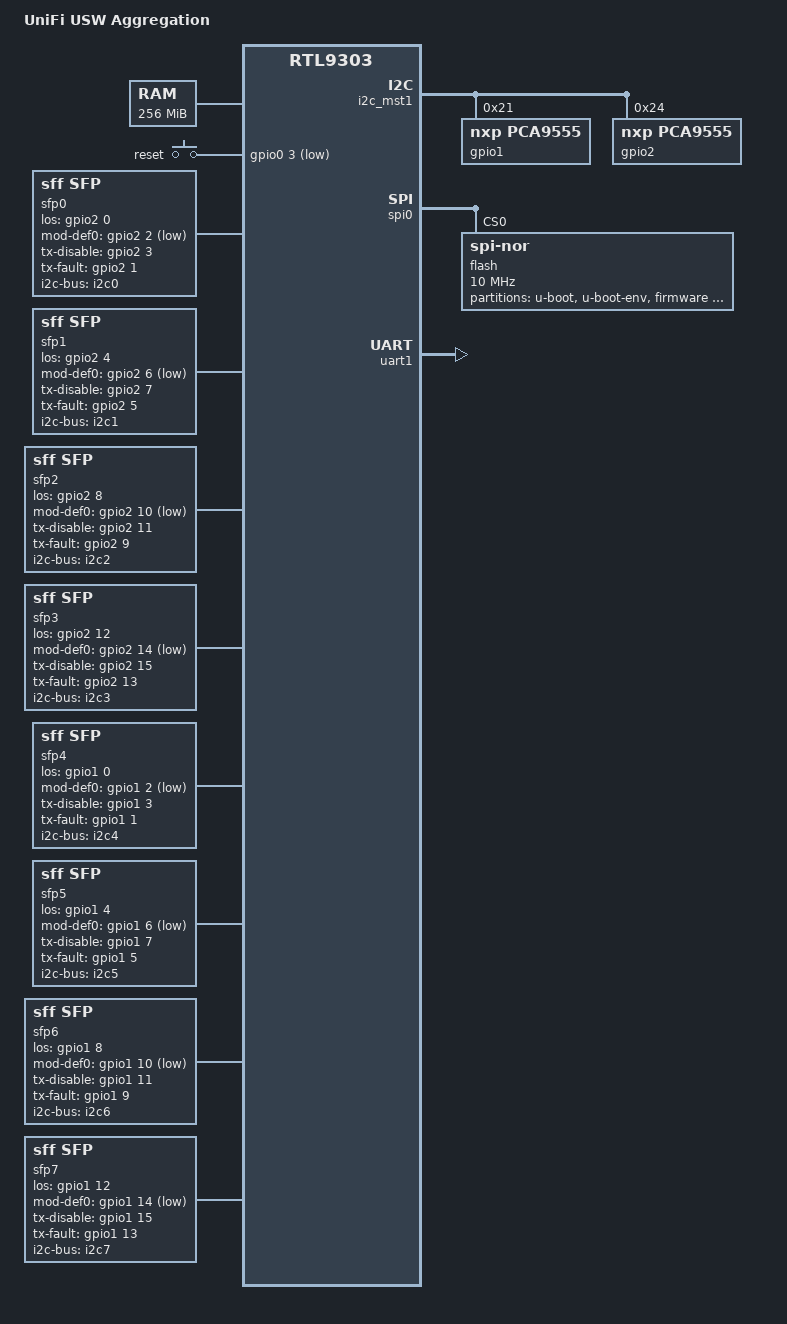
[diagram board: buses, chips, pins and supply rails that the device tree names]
// SPDX-License-Identifier: GPL-2.0-or-later

#include "rtl930x.dtsi"

#include <dt-bindings/input/input.h>
#include <dt-bindings/gpio/gpio.h>
#include <dt-bindings/leds/common.h>

/ {
	compatible = "ubnt,usw-aggregation", "realtek,rtl9303-soc";
	model = "UniFi USW Aggregation";

	aliases {
		label-mac-device = &ethernet0;
	};

	memory@0 {
		device_type = "memory";
		reg = <0x00000000 0x10000000>;
	};

	chosen {
		stdout-path = "serial0:115200n8";
	};

	keys {
		compatible = "gpio-keys";

		button-reset {
			label = "reset";
			gpios = <&gpio0 3 GPIO_ACTIVE_LOW>;
			linux,code = <KEY_RESTART>;
		};
	};

	leds {
		compatible = "gpio-leds";
		pinctrl-names = "default";
		pinctrl-0 = <&pinmux_enable_led_sync>;
	};

	led_set {
		compatible = "realtek,rtl9300-leds";
		active-low;

		led_set0 = <(RTL93XX_LED_SET_10G | RTL93XX_LED_SET_5G | RTL93XX_LED_SET_2P5G |
			     RTL93XX_LED_SET_1G | RTL93XX_LED_SET_100M | RTL93XX_LED_SET_10M |
			     RTL93XX_LED_SET_LINK | RTL93XX_LED_SET_ACT)
			    RTL93XX_LED_SET_NONE>;
	};

	sfp0: sfp-p1 {
		compatible = "sff,sfp";
		i2c-bus = <&i2c0>;
		los-gpio = <&gpio2 0 GPIO_ACTIVE_HIGH>;
		mod-def0-gpio = <&gpio2 2 GPIO_ACTIVE_LOW>;
		tx-disable-gpio = <&gpio2 3 GPIO_ACTIVE_HIGH>;
		tx-fault-gpio = <&gpio2 1 GPIO_ACTIVE_HIGH>;
	};

	sfp1: sfp-p2 {
		compatible = "sff,sfp";
		i2c-bus = <&i2c1>;
		los-gpio = <&gpio2 4 GPIO_ACTIVE_HIGH>;
		mod-def0-gpio = <&gpio2 6 GPIO_ACTIVE_LOW>;
		tx-disable-gpio = <&gpio2 7 GPIO_ACTIVE_HIGH>;
		tx-fault-gpio = <&gpio2 5 GPIO_ACTIVE_HIGH>;
	};

	sfp2: sfp-p3 {
		compatible = "sff,sfp";
		i2c-bus = <&i2c2>;
		los-gpio = <&gpio2 8 GPIO_ACTIVE_HIGH>;
		mod-def0-gpio = <&gpio2 10 GPIO_ACTIVE_LOW>;
		tx-disable-gpio = <&gpio2 11 GPIO_ACTIVE_HIGH>;
		tx-fault-gpio = <&gpio2 9 GPIO_ACTIVE_HIGH>;
	};

	sfp3: sfp-p4 {
		compatible = "sff,sfp";
		i2c-bus = <&i2c3>;
		los-gpio = <&gpio2 12 GPIO_ACTIVE_HIGH>;
		mod-def0-gpio = <&gpio2 14 GPIO_ACTIVE_LOW>;
		tx-disable-gpio = <&gpio2 15 GPIO_ACTIVE_HIGH>;
		tx-fault-gpio = <&gpio2 13 GPIO_ACTIVE_HIGH>;
	};

	sfp4: sfp-p5 {
		compatible = "sff,sfp";
		i2c-bus = <&i2c4>;
		los-gpio = <&gpio1 0 GPIO_ACTIVE_HIGH>;
		mod-def0-gpio = <&gpio1 2 GPIO_ACTIVE_LOW>;
		tx-disable-gpio = <&gpio1 3 GPIO_ACTIVE_HIGH>;
		tx-fault-gpio = <&gpio1 1 GPIO_ACTIVE_HIGH>;
	};

	sfp5: sfp-p6 {
		compatible = "sff,sfp";
		i2c-bus = <&i2c5>;
		los-gpio = <&gpio1 4 GPIO_ACTIVE_HIGH>;
		mod-def0-gpio = <&gpio1 6 GPIO_ACTIVE_LOW>;
		tx-disable-gpio = <&gpio1 7 GPIO_ACTIVE_HIGH>;
		tx-fault-gpio = <&gpio1 5 GPIO_ACTIVE_HIGH>;
	};

	sfp6: sfp-p7 {
		compatible = "sff,sfp";
		i2c-bus = <&i2c6>;
		los-gpio = <&gpio1 8 GPIO_ACTIVE_HIGH>;
		mod-def0-gpio = <&gpio1 10 GPIO_ACTIVE_LOW>;
		tx-disable-gpio = <&gpio1 11 GPIO_ACTIVE_HIGH>;
		tx-fault-gpio = <&gpio1 9 GPIO_ACTIVE_HIGH>;
	};

	sfp7: sfp-p8 {
		compatible = "sff,sfp";
		i2c-bus = <&i2c7>;
		los-gpio = <&gpio1 12 GPIO_ACTIVE_HIGH>;
		mod-def0-gpio = <&gpio1 14 GPIO_ACTIVE_LOW>;
		tx-disable-gpio = <&gpio1 15 GPIO_ACTIVE_HIGH>;
		tx-fault-gpio = <&gpio1 13 GPIO_ACTIVE_HIGH>;
	};
};

&i2c_mst1 {
	status = "okay";

	i2c0: i2c@0 { reg = <0>; };
	i2c1: i2c@1 { reg = <1>; };
	i2c2: i2c@2 { reg = <2>; };
	i2c3: i2c@3 { reg = <3>; };
	i2c4: i2c@4 {
		reg = <4>;

		gpio1: gpio@21 {
			compatible = "nxp,pca9555";
			reg = <0x21>;
			gpio-controller;
			#gpio-cells = <2>;
		};

		gpio2: gpio@24 {
			compatible = "nxp,pca9555";
			reg = <0x24>;
			gpio-controller;
			#gpio-cells = <2>;
		};
	};
	i2c5: i2c@5 { reg = <5>; };
	i2c6: i2c@6 { reg = <6>; };
	i2c7: i2c@7 { reg = <7>; };
};

&spi0 {
	status = "okay";

	flash@0 {
		compatible = "jedec,spi-nor";
		reg = <0>;
		spi-max-frequency = <10000000>;

		partitions {
			compatible = "fixed-partitions";
			#address-cells = <1>;
			#size-cells = <1>;

			partition@0 {
				label = "u-boot";
				reg = <0x0 0xa0000>;
				read-only;
			};

			partition@a0000 {
				label = "u-boot-env";
				reg = <0xa0000 0x10000>;
			};

			partition@b0000 {
				compatible = "openwrt,uimage", "denx,uimage";
				label = "firmware";
				reg = <0xb0000 0xe20000>;
			};

			/* this partition contains data used by U-boot and UniFi OS
			 * e.g. the bootpartition selector.
			 */
			partition@ed0000 {
				label = "reserved";
				reg = <0xed0000 0x10000>;
			};

			partition@ee0000 {
				label = "cdata";
				reg = <0xee0000 0x10000>;
			};

			partition@ef0000 {
				label = "cfg";
				reg = <0xef0000 0x100000>;
			};

			partition@ff0000 {
				label = "eeprom";
				reg = <0xff0000 0x10000>;

				nvmem-layout {
					compatible = "fixed-layout";
					#address-cells = <1>;
					#size-cells = <1>;

					factory_macaddr: macaddr@0 {
						compatible = "mac-base";
						reg = <0x0 0x6>;
						#nvmem-cell-cells = <1>;
					};
				};
			};
		};
	};
};

&gpio0 {
	/*
	 * Lines 5/6 are wired to the front-panel STM32 MCU that drives
	 * the touch display:
	 *   5 = BOOT0 select (low: run firmware from flash,
	 *                    high: system bootloader / DFU)
	 *   6 = reset (active low)
	 * Named only, not claimed, so userspace can drive them.
	 */
	gpio-line-names = "", "", "", "", "", "lcm-mode", "lcm-reset";
};

&ethernet0 {
	nvmem-cells = <&factory_macaddr 0>;
	nvmem-cell-names = "mac-address";
};

&switch0 {
	ethernet-ports {
		#address-cells = <1>;
		#size-cells = <0>;

		SWITCH_PORT_SFP(20, 1, 5, 0, 0)
		SWITCH_PORT_SFP(16, 2, 4, 0, 1)
		SWITCH_PORT_SFP(25, 3, 7, 0, 2)
		SWITCH_PORT_SFP(24, 4, 6, 0, 3)
		SWITCH_PORT_SFP(27, 5, 9, 0, 4)
		SWITCH_PORT_SFP(26, 6, 8, 0, 5)
		SWITCH_PORT_SFP(8, 7, 3, 0, 6)
		SWITCH_PORT_SFP(0, 8, 2, 0, 7)

		port@28 {
			ethernet = <&ethernet0>;
			reg = <28>;
			phy-mode = "internal";

			fixed-link {
				speed = <1000>;
				full-duplex;
			};
		};
	};
};

&uart1 {
	status = "okay";

	/* front touch display MCU reachable here */
};
